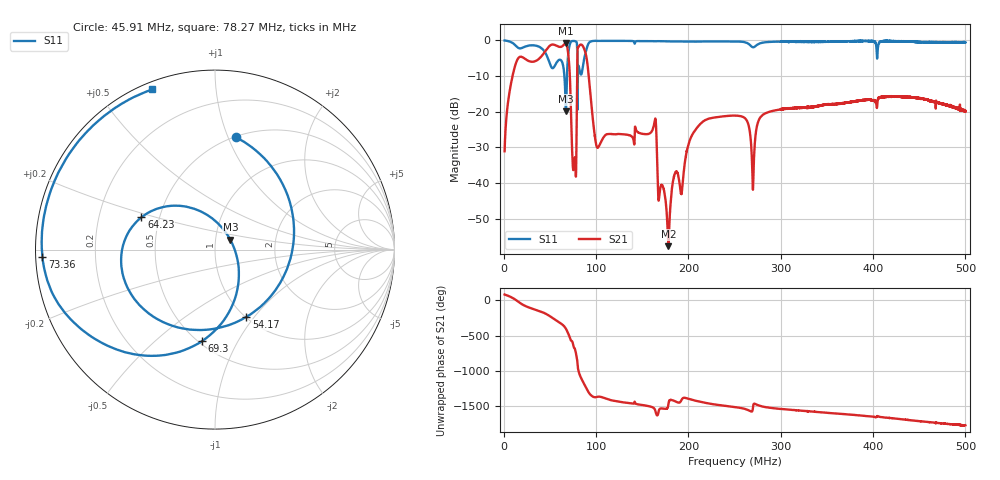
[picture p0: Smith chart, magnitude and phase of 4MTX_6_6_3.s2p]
! NanoVNA-App
! Date: 2026-08-18 22:07:14
! Start: 1MHz Stop: 500MHz Points: 6401
! S-Parameter data: F S11 S21 S12 S22
# Hz S RI R 50
!  Frequency  S11_Real  S11_Imag  S21_Real  S21_Imag  S12_Real  S12_Imag  S22_Real  S22_Imag
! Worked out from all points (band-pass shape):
!   6401 points, 1 MHz to 500 MHz, reference 50 ohm
!   highest |S21| = -0.87 dB at 67.12 MHz (marker M1); lowest = -57.7 dB at 178.5 MHz (marker M2)
!   |S21| within 3 dB of the highest: 42.92 MHz to 69.88 MHz (26.96 MHz wide, 47.8 % of centre); 79.81 MHz to 88.89 MHz (9.084 MHz wide, 10.8 % of centre)
!   lowest |S11| = -19.9 dB at 67.35 MHz (marker M3), VSWR 1.23, Z = 59 + j6.5 ohm
!   |S11| at or under -10 dB: 65.73 MHz to 68.52 MHz (2.79 MHz wide, 4.16 % of centre); 79.86 MHz to 80.33 MHz (476.4 kHz wide, 0.595 % of centre)
!   S12 and S22 are empty: the file has one direction only
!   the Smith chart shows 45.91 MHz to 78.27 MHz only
!   S11 on the Smith chart (normalised r, x): 45.91 MHz: 0.51, +1.07; 54.17 MHz: 1.01, -0.91; 64.23 MHz: 0.40, +0.18; 69.3 MHz: 0.52, -0.72; 73.36 MHz: 0.02, -0.02; 78.27 MHz: 0.03, +0.68
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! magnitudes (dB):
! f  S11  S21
! 1 MHz  -0.1  -31.1
! 14.49 MHz  -1.9  -5.6
! 45.91 MHz  -3.9  -2.8
! 54.17 MHz  -7.7  -1.3
! 64.23 MHz  -7.0  -1.5
! 67.12 MHz  -18.5  -0.9
! 67.35 MHz  -19.9  -0.9
! 69.3 MHz  -5.8  -2.7
! 73.36 MHz  -0.3  -25.1
! 76.24 MHz  -0.3  -35.4
! 78.27 MHz  -0.4  -38.1
! 84.19 MHz  -9.5  -1.3
! 101.3 MHz  -0.2  -30.1
! 162.8 MHz  -0.3  -23.7
! 167.4 MHz  -0.3  -43.8
! 178.5 MHz  -0.3  -57.7
! 205.7 MHz  -0.4  -25.8
! 250.5 MHz  -0.4  -21.1
! 269.9 MHz  -2.0  -41.9
! 333.7 MHz  -0.5  -18.7
! 416.9 MHz  -0.2  -15.9
! 500 MHz  -0.7  -20.0
